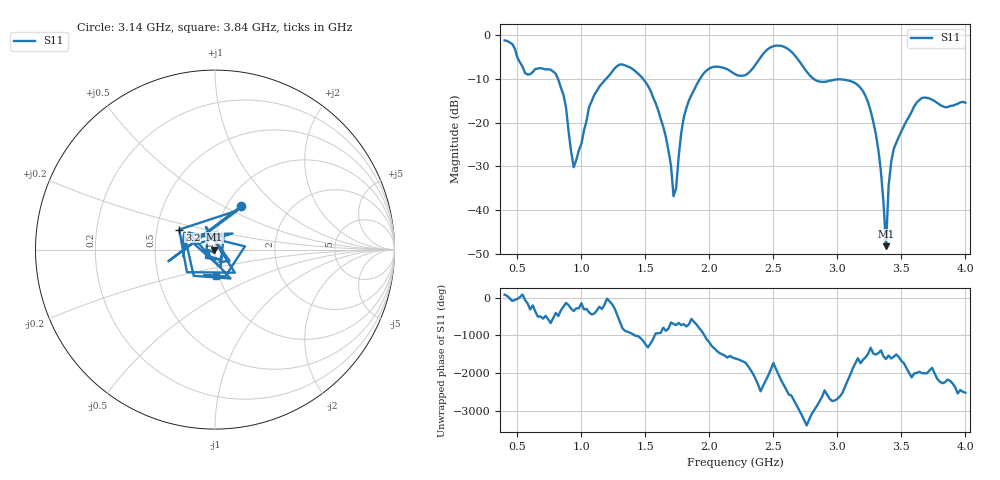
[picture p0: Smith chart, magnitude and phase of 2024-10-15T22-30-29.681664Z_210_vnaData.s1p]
! Created with skrf (http://scikit-rf.org).
# Hz S RI R 50.0
!freq ReS11 ImS11
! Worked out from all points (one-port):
!   181 points, 400 MHz to 4 GHz, reference 50 ohm
!   lowest |S11| = -48.3 dB at 3.38 GHz (marker M1), VSWR 1.01, Z = 49.6 + j0.0438 ohm
!   |S11| at or under -10 dB: 817.1 MHz to 1.193 GHz (375.6 MHz wide, 37.4 % of centre); 1.482 GHz to 1.927 GHz (444.5 MHz wide, 26.1 % of centre); 2.815 GHz to end of sweep
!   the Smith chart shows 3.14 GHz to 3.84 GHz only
!   S11 on the Smith chart (normalised r, x): 3.14 GHz: 1.17, +0.61; 3.2 GHz: 0.65, +0.15; 3.84 GHz: 0.96, -0.29
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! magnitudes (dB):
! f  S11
! 400 MHz  -1.2
! 560 MHz  -8.7
! 800 MHz  -8.8
! 860 MHz  -13.7
! 940 MHz  -30.2
! 1.1 GHz  -13.7
! 1.3 GHz  -6.7
! 1.58 GHz  -15.6
! 1.66 GHz  -23.3
! 1.72 GHz  -36.9
! 1.76 GHz  -27.8
! 1.82 GHz  -16.7
! 1.94 GHz  -9.4
! 2.2 GHz  -8.9
! 2.5 GHz  -2.5
! 2.66 GHz  -4.4
! 2.84 GHz  -10.5
! 3.1 GHz  -10.5
! 3.14 GHz  -11.0
! 3.2 GHz  -12.8
! 3.32 GHz  -26.3
! 3.38 GHz  -48.3
! 3.4 GHz  -34.5
! 3.42 GHz  -29.1
! 3.56 GHz  -18.6
! 3.66 GHz  -14.4
! 3.84 GHz  -16.5
! 4 GHz  -15.5
